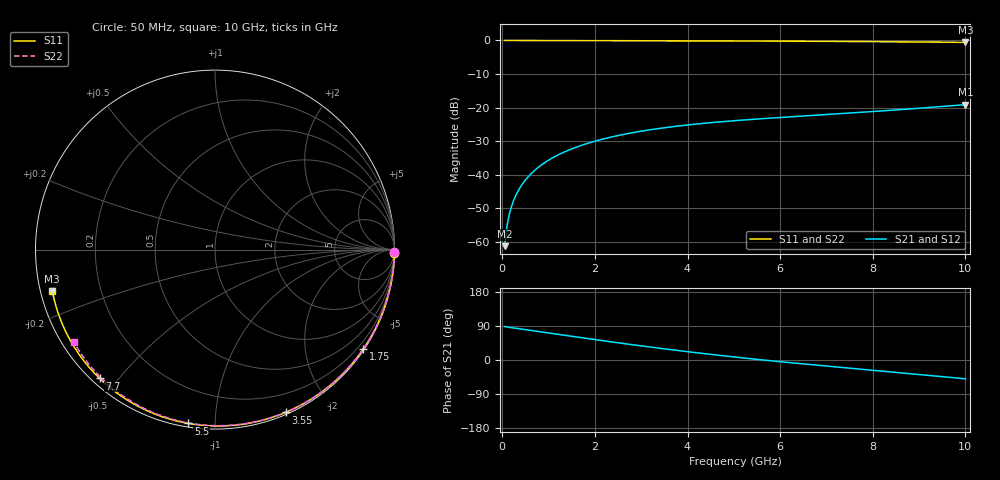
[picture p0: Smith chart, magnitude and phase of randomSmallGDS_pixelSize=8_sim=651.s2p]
! freq	dB(S11)	phase(S11)	dB(S12)	phase(S12)
!  dB(S21)	phase(S21)	dB(S22)	phase(S22)
!S-par simulation data
#  GHz  S  DB  R 50
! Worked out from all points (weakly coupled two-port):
!   200 points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, 50 MHz to 10 GHz, reference 50 ohm
!   highest |S21| = -19.11 dB at 10 GHz (marker M1); lowest = -61.2 dB at 50 MHz (marker M2)
!   lowest |S11| = -0.6 dB at 10 GHz (marker M3), VSWR 29.94, Z = 1.7 - j6.26 ohm
!   |S11| at or under -10 dB: nowhere
!   |S22| runs from -0.5 to 0.0 dB; largest |S21 - S12| = 0
!   S11 on the Smith chart (normalised r, x): 50 MHz: open; 1.75 GHz: 0.03, -3.28; 3.55 GHz: 0.02, -1.52; 5.5 GHz: 0.02, -0.86; 7.7 GHz: 0.02, -0.45; 10 GHz: 0.03, -0.13
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0.05  -0.00 -1.0  -61.23 88.5  -61.23 88.5  -0.00 -0.9
0.1  -0.00 -2.0  -55.27 87.2  -55.27 87.2  -0.00 -1.7
0.15  -0.00 -3.0  -51.81 86.2  -51.81 86.2  -0.00 -2.6
0.2  -0.00 -4.0  -49.36 85.3  -49.36 85.3  -0.00 -3.5
0.25  -0.00 -4.9  -47.46 84.4  -47.46 84.4  -0.00 -4.3
0.35  -0.01 -6.9  -44.59 82.7  -44.59 82.7  -0.00 -6.0
0.5  -0.01 -9.9  -41.53 80.2  -41.53 80.2  -0.01 -8.6
0.7  -0.02 -13.8  -38.66 76.7  -38.66 76.7  -0.01 -12.0
1  -0.03 -19.6  -35.63 71.4  -35.63 71.4  -0.02 -17.1
1.35  -0.04 -26.3  -33.13 65.1  -33.13 65.1  -0.03 -23.0
1.75  -0.05 -33.9  -31.03 58.1  -31.03 58.1  -0.04 -29.7
2.6  -0.07 -49.7  -28.01 43.7  -28.01 43.7  -0.06 -43.6
3.4  -0.09 -63.9  -26.17 30.9  -26.17 30.9  -0.08 -56.2
3.55  -0.10 -66.5  -25.89 28.6  -25.89 28.6  -0.09 -58.6
4.3  -0.12 -79.3  -24.73 17.6  -24.73 17.6  -0.11 -70.0
5.05  -0.15 -91.6  -23.84 7.4  -23.84 7.4  -0.14 -81.0
5.5  -0.18 -98.7  -23.39 1.6  -23.39 1.6  -0.16 -87.4
6.7  -0.25 -117.1  -22.32 -12.6  -22.32 -12.6  -0.22 -103.9
7.7  -0.32 -131.9  -21.44 -23.6  -21.44 -23.6  -0.29 -117.2
8.35  -0.38 -141.4  -20.83 -30.7  -20.83 -30.7  -0.35 -125.6
9.2  -0.48 -153.8  -19.97 -40.2  -19.97 -40.2  -0.44 -136.5
10  -0.58 -165.7  -19.11 -49.7  -19.11 -49.7  -0.54 -146.8
